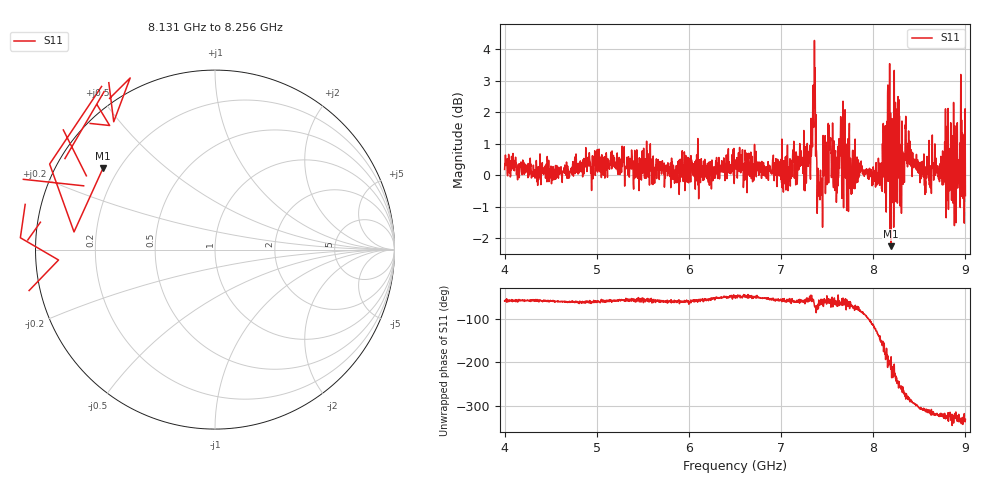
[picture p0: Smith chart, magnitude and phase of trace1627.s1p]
! Created with skrf 1.8.0 (http://scikit-rf.org).
# Hz S RI R 50.0
!freq ReS11 ImS11
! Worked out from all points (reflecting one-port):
!   1601 points, 4 GHz to 9 GHz, reference 50 ohm
!   lowest |S11| = -2.3 dB at 8.191 GHz (marker M1), VSWR 7.74, Z = 7.13 + j15.9 ohm
!   phase of S11 starts at -59 deg and turns -273 deg over the sweep
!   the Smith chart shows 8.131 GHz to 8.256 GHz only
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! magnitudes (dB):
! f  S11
! 4 GHz  0.2
! 4.625 GHz  -0.2
! 5.25 GHz  0.0
! 5.875 GHz  0.3
! 6.5 GHz  0.5
! 7.125 GHz  0.6
! 7.294 GHz  0.3
! 7.356 GHz  2.9
! 7.369 GHz  3.4
! 7.4 GHz  0.2
! 7.428 GHz  0.2
! 7.512 GHz  1.6
! 7.538 GHz  1.2
! 7.591 GHz  0.8
! 7.669 GHz  1.0
! 7.75 GHz  -0.4
! 8.066 GHz  0.0
! 8.156 GHz  2.6
! 8.191 GHz  -2.3
! 8.209 GHz  1.5
! 8.262 GHz  -0.9
! 8.312 GHz  1.7
! 8.375 GHz  0.8
! 8.556 GHz  -0.3
! 8.8 GHz  1.0
! 8.919 GHz  -0.2
! 8.972 GHz  0.8
! 9 GHz  -0.7
